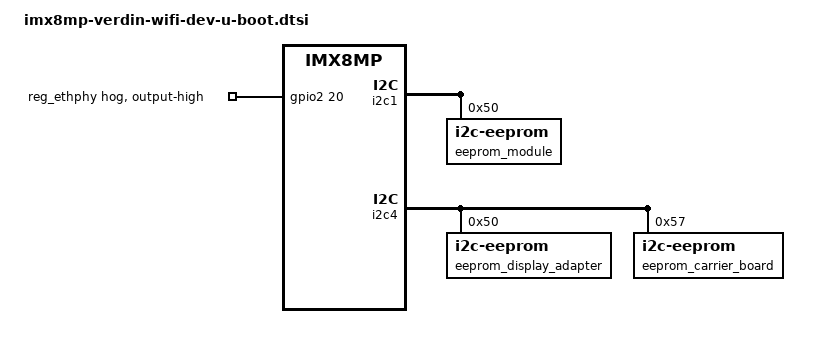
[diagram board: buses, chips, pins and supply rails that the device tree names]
// SPDX-License-Identifier: GPL-2.0-or-later OR MIT
/*
 * Copyright 2022 Toradex
 */

#include "imx8mp-u-boot.dtsi"

/ {
	aliases {
		eeprom0 = &eeprom_module;
		eeprom1 = &eeprom_carrier_board;
		eeprom2 = &eeprom_display_adapter;
	};

	sysinfo {
		compatible = "toradex,sysinfo";
	};

	wdt-reboot {
		compatible = "wdt-reboot";
		bootph-pre-ram;
		wdt = <&wdog1>;
	};
};

&clk {
	bootph-all;
	bootph-pre-ram;
	/delete-property/ assigned-clocks;
	/delete-property/ assigned-clock-parents;
	/delete-property/ assigned-clock-rates;

};

&gpio1 {
	bootph-pre-ram;
};

&gpio2 {
	bootph-pre-ram;

	regulator-ethphy {
		gpio-hog;
		gpios = <20 GPIO_ACTIVE_HIGH>;
		line-name = "reg_ethphy";
		output-high;
		pinctrl-names = "default";
		pinctrl-0 = <&pinctrl_reg_eth>;
	};
};

&gpio3 {
	bootph-pre-ram;
};

&gpio4 {
	bootph-pre-ram;

	ctrl-sleep-moci-hog {
		bootph-pre-ram;
	};
};

&gpio5 {
	bootph-pre-ram;
};

&i2c1 {
	bootph-pre-ram;

	eeprom_module: eeprom@50 {
		compatible = "i2c-eeprom";
		pagesize = <16>;
		reg = <0x50>;
	};
};

&i2c2 {
	bootph-pre-ram;
};

&i2c3 {
	bootph-pre-ram;
};

&i2c4 {
	/* EEPROM on display adapter (MIPI DSI Display Adapter) */
	eeprom_display_adapter: eeprom@50 {
		compatible = "i2c-eeprom";
		pagesize = <16>;
		reg = <0x50>;
	};

	/* EEPROM on carrier board */
	eeprom_carrier_board: eeprom@57 {
		compatible = "i2c-eeprom";
		pagesize = <16>;
		reg = <0x57>;
	};
};

&pca9450 {
	bootph-pre-ram;
};

&pinctrl_ctrl_sleep_moci {
	bootph-pre-ram;
};

&pinctrl_i2c1 {
	bootph-pre-ram;
};

&pinctrl_usdhc2_pwr_en {
	bootph-pre-ram;
	u-boot,off-on-delay-us = <20000>;
};

&pinctrl_uart3 {
	bootph-pre-ram;
};

&pinctrl_usdhc2_cd {
	bootph-pre-ram;
};

&pinctrl_usdhc2 {
	bootph-pre-ram;
};

&pinctrl_usdhc3 {
	bootph-pre-ram;
};

&pinctrl_wdog {
	bootph-pre-ram;
};

&reg_usdhc2_vmmc {
	bootph-pre-ram;
};

&uart3 {
	bootph-pre-ram;
};

&usdhc1 {
	status = "disabled";
};

&usdhc2 {
	assigned-clock-parents = <&clk IMX8MP_SYS_PLL1_400M>;
	assigned-clock-rates = <400000000>;
	assigned-clocks = <&clk IMX8MP_CLK_USDHC2>;
	sd-uhs-ddr50;
	sd-uhs-sdr104;
	bootph-pre-ram;
};

&usdhc3 {
	assigned-clock-parents = <&clk IMX8MP_SYS_PLL1_400M>;
	assigned-clock-rates = <400000000>;
	assigned-clocks = <&clk IMX8MP_CLK_USDHC3>;
	mmc-hs400-1_8v;
	mmc-hs400-enhanced-strobe;
	bootph-pre-ram;
};

&wdog1 {
	bootph-pre-ram;
};
